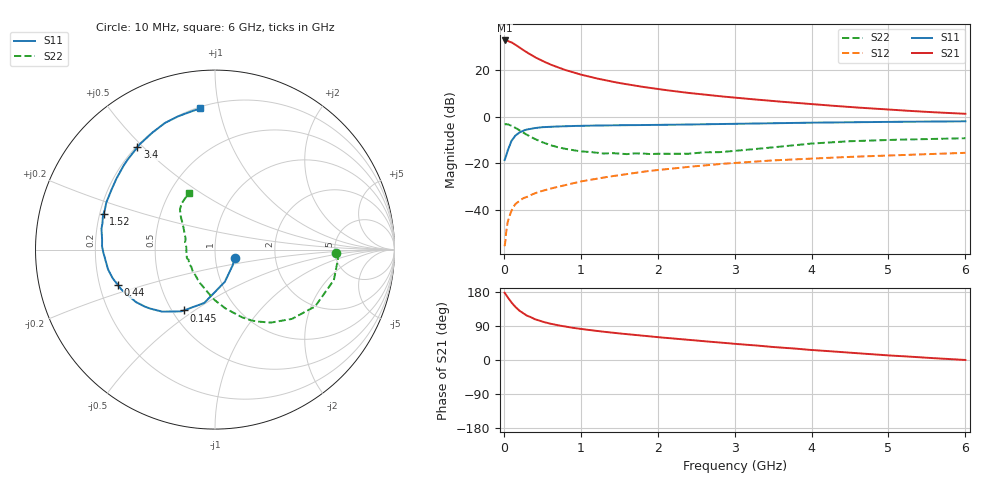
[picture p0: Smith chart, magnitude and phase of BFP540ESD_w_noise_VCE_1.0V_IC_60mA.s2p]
! Infineon Technologies  Discrete & RF Semiconductors
! BFP540ESD
! VCE =  1.0 V,  IC =  60 mA
! Common Emitter S-Parameters:  Nov 2015
# GHz  S  MA  R  50
!  f  S11  S21  S12  S22
! GHz  MAG  ANG  MAG  ANG  MAG  ANG  MAG  ANG
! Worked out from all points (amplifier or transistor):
!   210 points, 10 MHz to 6 GHz, reference 50 ohm
!   highest |S21| = 32.5 dB at 10 MHz (marker M1)
!   |S21| within 3 dB of that: start of sweep to 203.6 MHz
!   unconditionally stable (mu >= 1): start of sweep to 61.5 MHz; 774 MHz to end of sweep
!   at 185 MHz: K = 0.63, MSG = 33.2 dB, |S12| = -36.5 dB
!   at 1.52 GHz: K = 1.16, MAG = 17.2 dB, |S12| = -24.9 dB
!   at 6 GHz: K = 1.22, MAG = 5.5 dB, |S12| = -15.5 dB
!   lowest NFmin = 2.01 dB at 900 MHz
!   S11 on the Smith chart (normalised r, x): 10 MHz: 1.24, -0.12; 145 MHz: 0.57, -0.45; 440 MHz: 0.28, -0.16; 1.52 GHz: 0.22, +0.15; 3.4 GHz: 0.21, +0.48; 6 GHz: 0.21, +0.88
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0.01  0.1182 -23.0  42.21 177.4  0.0017 103.1  0.6717 -1.7
0.05  0.1877 -73.0  41.42 165.5  0.0055 77.2  0.6837 -14.4
0.1  0.3033 -101.4  38.45 151.5  0.0098 72.2  0.6414 -29.6
0.145  0.3813 -117.2  34.6 141.2  0.0131 65.4  0.5821 -40.6
0.15  0.3913 -118.5  34.25 139.9  0.0135 64.8  0.577 -42.0
0.2  0.4534 -130.3  30.16 130.6  0.0156 60.6  0.5119 -52.6
0.26  0.503 -140.7  25.86 122.0  0.0182 57.4  0.4462 -62.4
0.3  0.5285 -146.4  23.4 117.1  0.0192 56.7  0.4068 -68.1
0.4  0.5662 -156.7  18.67 107.9  0.0228 55.5  0.3338 -79.8
0.44  0.5753 -159.8  17.34 105.5  0.024 55.3  0.3122 -83.5
0.5  0.5919 -164.3  15.42 101.1  0.0258 55.0  0.2827 -90.0
0.6  0.606 -169.5  13.01 96.0  0.0287 56.2  0.2466 -98.3
0.7  0.6135 -174.7  11.27 91.7  0.0313 57.2  0.2212 -106.2
0.8  0.6226 -178.6  9.854 88.0  0.0343 57.7  0.2043 -114.1
1.02  0.6328 174.2  7.744 81.5  0.0415 57.6  0.179 -128.6
1.52  0.6527 162.1  5.141 69.8  0.0566 56.7  0.1609 -155.0
2.02  0.6637 151.8  3.824 59.9  0.0721 53.2  0.1605 -173.2
3.1  0.7021 132.3  2.449 41.2  0.1045 43.9  0.1909 152.4
3.4  0.7156 127.2  2.216 36.2  0.1128 40.7  0.212 145.7
4.1  0.7426 116.8  1.789 25.1  0.1288 33.5  0.271 134.9
5.1  0.7715 104.6  1.378 11.0  0.1491 24.1  0.3192 124.9
6  0.7913 95.9  1.145 0.1  0.1677 16.8  0.3438 114.5
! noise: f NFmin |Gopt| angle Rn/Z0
0.9  2.01  0.53  -140  0.17
1.8  2.16  0.55  -142  0.17
2.4  2.22  0.56  -131  0.22
3  2.36  0.58  -122  0.31
4  2.43  0.64  -102  0.57
5  2.56  0.7  -86  0.85
6  3.02  0.65  -82  1.34
